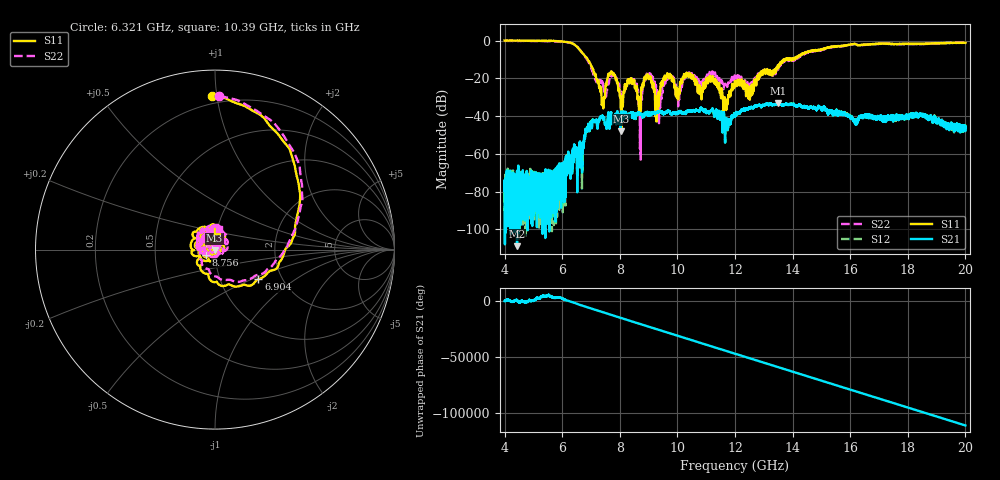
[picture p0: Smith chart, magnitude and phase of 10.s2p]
[Version] 2.0
! Rohde & Schwarz Vector Network Analyzer
! Rohde-Schwarz,ZNL20-2Port,1323001220200009,1.71.1.10-23.02.1.238
! Port Assignments:
! Nominal Port -> Actual Test Port
!  1 -> 1
!  2 -> 2
! Created: GMT+2 2025-01-17 12:09:53
# Hz S RI R 50
[Number of Ports] 2
[Two-Port Data Order] 21_12
! freq[Hz]  S11[Re]  S11[Im]  S21[Re]  S21[Im]  S12[Re]  S12[Im]  S22[Re]  S22[Im]
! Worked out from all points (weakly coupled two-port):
!   16001 points, 4 GHz to 20 GHz, reference 50 ohm
!   highest |S21| = -33.03 dB at 13.48 GHz (marker M1); lowest = -109.0 dB at 4.432 GHz (marker M2)
!   lowest |S11| = -48.1 dB at 8.057 GHz (marker M3), VSWR 1.01, Z = 49.8 - j0.328 ohm
!   |S11| at or under -10 dB: 6.885 GHz to 13.7 GHz (6.815 GHz wide, 66.2 % of centre); 13.71227 GHz to 13.74183 GHz (29.56 MHz wide, 0.215 % of centre); 13.94226 GHz to 13.966 GHz (23.73 MHz wide, 0.17 % of centre) (the widest 3 of 9)
!   |S22| runs from -63.1 to 0.0 dB; largest |S21 - S12| = 0.0027
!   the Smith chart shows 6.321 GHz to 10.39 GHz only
!   S11 on the Smith chart (normalised r, x): 6.321 GHz: 0.15, +0.97; 6.904 GHz: 1.52, -0.55; 8.756 GHz: 0.90, -0.05; 10.39 GHz: 1.00, +0.22
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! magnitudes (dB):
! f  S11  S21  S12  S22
! 4 GHz  0.0  -74.5  -78.4  -0.2
! 4.432 GHz  0.0  -109.0  -86.2  -0.1
! 5.754 GHz  -0.2  -95.7  -76.8  -0.5
! 6.321 GHz  -1.3  -65.2  -63.4  -1.3
! 6.667 GHz  -6.0  -61.6  -59.2  -6.0
! 6.904 GHz  -10.7  -44.7  -44.7  -11.2
! 7.402 GHz  -30.7  -39.9  -40.0  -22.3
! 7.721 GHz  -16.8  -41.5  -41.7  -18.9
! 8.057 GHz  -48.1  -37.7  -37.5  -31.1
! 8.425 GHz  -22.6  -40.1  -40.2  -21.6
! 8.756 GHz  -24.6  -39.1  -39.0  -29.5
! 9.001 GHz  -20.2  -38.2  -38.4  -18.7
! 9.334 GHz  -27.9  -37.9  -37.8  -30.9
! 9.586 GHz  -20.4  -38.0  -38.2  -21.6
! 10.05 GHz  -25.8  -38.3  -38.2  -28.1
! 10.39 GHz  -19.4  -37.5  -37.6  -18.5
! 11.67 GHz  -31.2  -47.2  -46.4  -23.0
! 12 GHz  -21.4  -40.1  -40.0  -19.0
! 13.48 GHz  -13.2  -33.0  -33.1  -14.5
! 14.67 GHz  -5.4  -35.5  -35.6  -5.9
! 17.33 GHz  -1.7  -40.5  -41.1  -1.8
! 20 GHz  -1.2  -46.0  -46.6  -1.2
